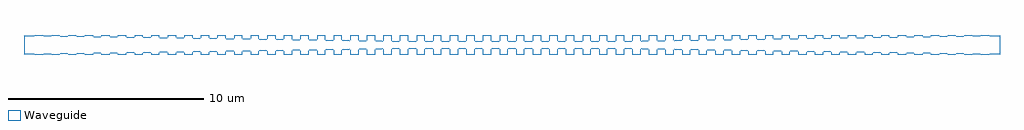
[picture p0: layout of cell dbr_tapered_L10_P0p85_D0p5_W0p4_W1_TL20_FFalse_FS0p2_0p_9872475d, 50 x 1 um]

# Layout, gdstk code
import gdstk
lib = gdstk.Library(unit=1e-6, precision=1e-09)
def R(c, l, rs):  # rectangles x0, y0, x1, y1
    for r in rs: c.add(gdstk.rectangle(r[:2], r[2:], *l))
def P(c, l, *ps):  # polygons
    for p in ps: c.add(gdstk.Polygon(p, *l))
Waveguide = (1, 0)

taper_gdsfactorypcompone = lib.new_cell('taper_gdsfactorypcomponentsptapersptaper_L20_W1_W0p4_LN_9fedc536')
P(taper_gdsfactorypcompone, Waveguide, [(0,-0.5),(0,0.5),(20,0.2),(20,-0.2)])

straight_gdsfactorypcomp = lib.new_cell('straight_gdsfactorypcomponentspwaveguidespstraight_L10__2c3216f5')
R(straight_gdsfactorypcomp, Waveguide, [(0,-0.2,10,0.2)])

c_taper_gdsfactorypcompone = lib.new_cell('taper_gdsfactorypcomponentsptapersptaper_L20_W0p4_W1_LN_66863c4a')
P(c_taper_gdsfactorypcompone, Waveguide, [(20,-0.5),(0,-0.2),(0,0.2),(20,0.5)])

rectangle_gdsfactorypcom = lib.new_cell('rectangle_gdsfactorypcomponentspshapesprectangle_S0p426_6427083f')
R(rectangle_gdsfactorypcom, Waveguide, [(0,0,0.426,1)])

array_gdsfactorypcompone = lib.new_cell('array_gdsfactorypcomponentspcontainersparray_component__ef08f668')
r = gdstk.Reference(rectangle_gdsfactorypcom, (0,0)); r.repetition = gdstk.Repetition(58, 1, v1=(0.85,0), v2=(0,0)); array_gdsfactorypcompone.add(r)

dbr_tapered_l10_p0p85_d0 = lib.new_cell('dbr_tapered_L10_P0p85_D0p5_W0p4_W1_TL20_FFalse_FS0p2_0p_9872475d')
dbr_tapered_l10_p0p85_d0.add(gdstk.Reference(taper_gdsfactorypcompone, (-25,0)))
dbr_tapered_l10_p0p85_d0.add(gdstk.Reference(straight_gdsfactorypcomp, (-5,0)))
dbr_tapered_l10_p0p85_d0.add(gdstk.Reference(c_taper_gdsfactorypcompone, (5,0)))
dbr_tapered_l10_p0p85_d0.add(gdstk.Reference(array_gdsfactorypcompone, (-24.438,-0.5)))

lib.write_gds('dbr_tapered_L10_P0p85_D0p5_W0p4_W1_TL20_FFalse_FS0p2_0p_9872475d.gds')
